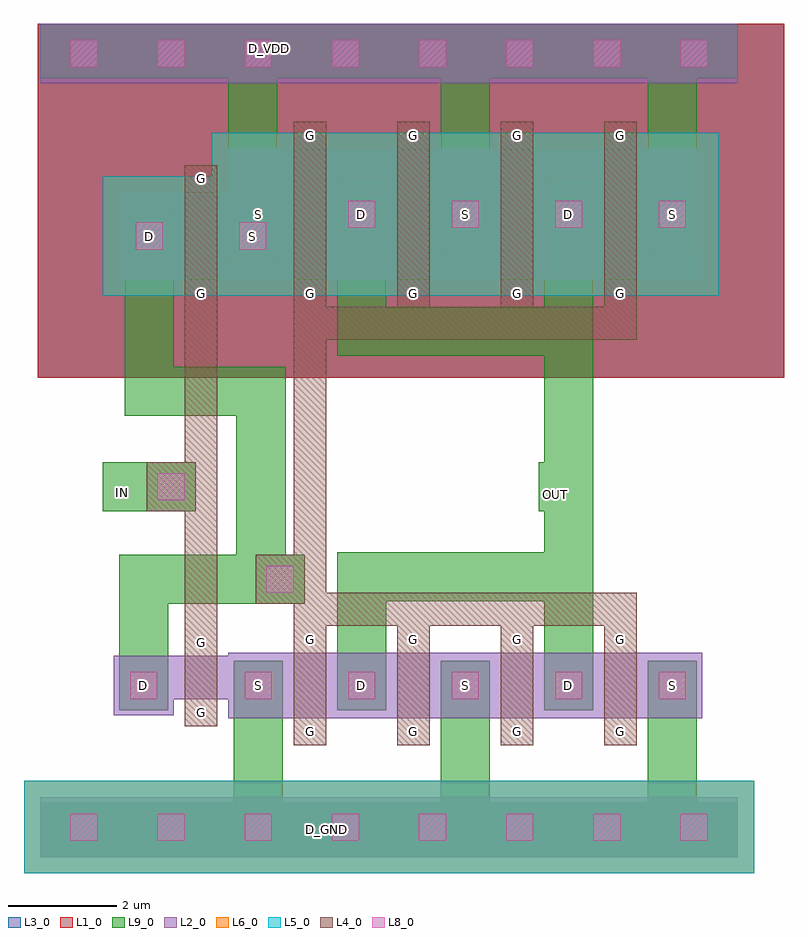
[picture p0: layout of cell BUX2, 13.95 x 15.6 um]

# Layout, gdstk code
import gdstk
lib = gdstk.Library(unit=1e-6, precision=1e-09)
def R(c, l, rs):  # rectangles x0, y0, x1, y1
    for r in rs: c.add(gdstk.rectangle(r[:2], r[2:], *l))
def A(c, l, x, y, w, h, nx, ny, dx, dy):  # array of equal rectangles
    R(c, l, [(x+i*dx, y+j*dy, x+i*dx+w, y+j*dy+h) for i in range(nx) for j in range(ny)])
def P(c, l, *ps):  # polygons
    for p in ps: c.add(gdstk.Polygon(p, *l))
L1_0 = (1, 0)
L2_0 = (2, 0)
L3_0 = (3, 0)
L4_0 = (4, 0)
L5_0 = (5, 0)
L6_0 = (6, 0)
L8_0 = (8, 0)
L9_0 = (9, 0)

bux2 = lib.new_cell('BUX2')
A(bux2, L1_0, 0, 8.8, 1.6, 6.5, 8, 1, 1.6, 0)
A(bux2, L1_0, 1.95, 9.1, 6, 5.4, 4, 1, 1.9, 0)
R(bux2, L1_0, [(-0.05,8.8,13.65,15.3), (-0.05,9.1,5.95,13.7)])
A(bux2, L2_0, 0, 0, 1.6, 1.1, 8, 2, 1.6, 14.2)
A(bux2, L2_0, 4.55, 2.55, 0.8, 1.2, 4, 1, 1.9, 0)
A(bux2, L2_0, 4.55, 10.6, 0.8, 2.4, 4, 1, 1.9, 0)
R(bux2, L2_0, [(3.45,2.55,4.55,3.75), (5.35,2.55,6.45,3.75), (5.35,2.55,6.45,3.75), (7.25,2.55,8.35,3.75), (7.25,2.55,8.35,3.75), (9.15,2.55,10.25,3.75), (9.15,2.55,10.25,3.75), (11.05,2.55,12.15,3.75), (1.35,2.6,2.45,3.7), (3.45,2.6,4.55,3.7), (2.45,2.9,3.45,3.7), (1.45,10.6,2.55,12.2), (2.55,10.6,3.35,12.2), (3.35,10.6,4.45,12.2), (3.45,10.6,4.55,13), (5.35,10.6,6.45,13), (5.35,10.6,6.45,13), (7.25,10.6,8.35,13), (7.25,10.6,8.35,13), (9.15,10.6,10.25,13), (9.15,10.6,10.25,13), (11.05,10.6,12.15,13)])
A(bux2, L3_0, 0, 8.8, 1.6, 6.5, 8, 1, 1.6, 0)
A(bux2, L3_0, 1.95, 9.1, 6, 5.4, 4, 1, 1.9, 0)
R(bux2, L3_0, [(-0.05,8.8,13.65,15.3), (-0.05,9.1,5.95,13.7)])
A(bux2, L4_0, 4.65, 2.05, 0.6, 0.5, 4, 2, 1.9, 1.7)
A(bux2, L4_0, 4.65, 2.05, 0.6, 2.2, 4, 1, 1.9, 0)
A(bux2, L4_0, 4.65, 10.1, 0.6, 0.5, 4, 2, 1.9, 2.9)
A(bux2, L4_0, 4.65, 10.1, 0.6, 3.4, 4, 1, 1.9, 0)
R(bux2, L4_0, [(2.65,2.4,3.25,2.9), (2.65,2.4,3.25,4.2), (2.65,3.7,3.25,4.2), (2.65,4.2,3.25,10.1), (4.65,4.25,5.25,10.1), (5.25,4.25,10.95,4.85), (3.95,4.65,4.85,5.55), (1.95,6.35,2.85,7.25), (5.25,9.5,10.95,10.1), (2.65,10.1,3.25,12.7), (2.65,10.1,3.25,10.6), (2.65,12.2,3.25,12.7)])
A(bux2, L5_0, 1.6, -0.3, 1.6, 1.7, 6, 1, 1.6, 0)
A(bux2, L5_0, 3.15, 10.3, 3.6, 3, 4, 1, 1.9, 0)
R(bux2, L5_0, [(-0.3,-0.3,1.6,1.4), (11.2,-0.3,13.1,1.4), (1.15,10.3,4.75,12.5)])
A(bux2, L6_0, 1.6, -0.3, 1.6, 1.7, 6, 1, 1.6, 0)
A(bux2, L6_0, 3.15, 10.3, 3.6, 3, 4, 1, 1.9, 0)
R(bux2, L6_0, [(-0.3,-0.3,1.6,1.4), (11.2,-0.3,13.1,1.4), (1.15,10.3,4.75,12.5)])
A(bux2, L8_0, 0.55, 0.3, 0.5, 0.5, 8, 2, 1.6, 14.2)
R(bux2, L8_0, [(1.65,2.9,2.15,3.4), (3.75,2.9,4.25,3.4), (3.75,2.9,4.25,3.4), (5.65,2.9,6.15,3.4), (5.65,2.9,6.15,3.4), (7.55,2.9,8.05,3.4), (7.55,2.9,8.05,3.4), (9.45,2.9,9.95,3.4), (9.45,2.9,9.95,3.4), (11.35,2.9,11.85,3.4), (4.15,4.85,4.65,5.35), (2.15,6.55,2.65,7.05), (1.75,11.15,2.25,11.65), (3.65,11.15,4.15,11.65), (5.65,11.55,6.15,12.05), (5.65,11.55,6.15,12.05), (7.55,11.55,8.05,12.05), (7.55,11.55,8.05,12.05), (9.45,11.55,9.95,12.05), (9.45,11.55,9.95,12.05), (11.35,11.55,11.85,12.05)])
A(bux2, L9_0, 0, 0, 1.6, 1, 8, 2, 1.6, 14.3)
R(bux2, L9_0, [(4.95,0.2,5.55,0.8), (1.45,2.7,2.35,3.6), (3.55,2.7,4.45,3.6), (3.55,2.7,4.45,3.6), (5.45,2.7,6.35,3.6), (5.45,2.7,6.35,3.6), (7.35,2.7,8.25,3.6), (7.35,2.7,8.25,3.6), (9.25,2.7,10.15,3.6), (9.25,2.7,10.15,3.6), (9.25,2.7,10.15,10.1), (11.15,2.7,12.05,3.6), (3.95,4.65,4.85,5.55), (1.15,6.35,2.05,7.25), (1.95,6.35,2.85,7.25), (9.15,6.35,10.05,7.25), (9.25,9.2,10.15,12), (1.55,10.9,2.45,11.9), (3.45,10.9,4.35,11.9), (5.45,11.1,6.35,12.5), (5.45,11.1,6.35,12.5), (7.35,11.1,8.25,12.5), (7.35,11.1,8.25,12.5), (9.25,11.1,10.15,12.5), (9.25,11.1,10.15,12.5), (11.15,11.1,12.05,12.5), (3.9,14.55,4.5,15.15)])
P(bux2, L9_0, [(3.55,0.1),(4.9,0.1),(4.9,1),(4.45,1),(4.45,3.6),(3.55,3.6)],
  [(3.45,11),(4.35,11),(4.35,14.3),(4.9,14.3),(4.9,15.2),(3.45,15.2)],
  [(1.55,8.1),(3.6,8.1),(3.6,4.65),(4.5,4.65),(4.5,9),(2.45,9),(2.45,11.8),(1.55,11.8)],
  [(1.45,2.7),(2.35,2.7),(2.35,4.65),(4.5,4.65),(4.5,5.55),(1.45,5.55)],
  [(10.3,0.1),(12.05,0.1),(12.05,3.6),(11.15,3.6),(11.15,1),(10.3,1)],
  [(7.35,0.1),(8.9,0.1),(8.9,1),(8.25,1),(8.25,3.6),(7.35,3.6)],
  [(7.35,11.6),(8.25,11.6),(8.25,14.3),(8.9,14.3),(8.9,15.2),(7.35,15.2)],
  [(10.3,14.3),(11.15,14.3),(11.15,11.6),(12.05,11.6),(12.05,15.2),(10.3,15.2)],
  [(5.45,9.2),(10.15,9.2),(10.15,10.1),(6.35,10.1),(6.35,12),(5.45,12)],
  [(5.45,2.7),(6.35,2.7),(6.35,4.7),(10.15,4.7),(10.15,5.6),(5.45,5.6)])
bux2.add(gdstk.Label('G', (2.95,12.448), layer=4, texttype=0))
bux2.add(gdstk.Label('G', (2.95,10.348), layer=4, texttype=0))
bux2.add(gdstk.Label('S', (3.901,11.399), layer=9, texttype=0))
bux2.add(gdstk.Label('D', (2.001,11.399), layer=9, texttype=0))
bux2.add(gdstk.Label('G', (4.95,2.302), layer=4, texttype=0))
bux2.add(gdstk.Label('G', (4.95,4.002), layer=4, texttype=0))
bux2.add(gdstk.Label('S', (3.999,3.151), layer=9, texttype=0))
bux2.add(gdstk.Label('D', (5.899,3.151), layer=9, texttype=0))
bux2.add(gdstk.Label('G', (8.75,2.302), layer=4, texttype=0))
bux2.add(gdstk.Label('G', (8.75,4.002), layer=4, texttype=0))
bux2.add(gdstk.Label('S', (7.799,3.151), layer=9, texttype=0))
bux2.add(gdstk.Label('D', (9.699,3.151), layer=9, texttype=0))
bux2.add(gdstk.Label('G', (6.85,10.352), layer=4, texttype=0))
bux2.add(gdstk.Label('G', (6.85,13.252), layer=4, texttype=0))
bux2.add(gdstk.Label('S', (7.801,11.801), layer=9, texttype=0))
bux2.add(gdstk.Label('D', (5.901,11.801), layer=9, texttype=0))
bux2.add(gdstk.Label('G', (8.75,10.352), layer=4, texttype=0))
bux2.add(gdstk.Label('G', (8.75,13.252), layer=4, texttype=0))
bux2.add(gdstk.Label('S', (7.799,11.801), layer=9, texttype=0))
bux2.add(gdstk.Label('D', (9.699,11.801), layer=9, texttype=0))
bux2.add(gdstk.Label('G', (4.95,10.352), layer=4, texttype=0))
bux2.add(gdstk.Label('G', (4.95,13.252), layer=4, texttype=0))
bux2.add(gdstk.Label('S', (3.999,11.801), layer=2, texttype=0))
bux2.add(gdstk.Label('D', (5.899,11.801), layer=9, texttype=0))
bux2.add(gdstk.Label('G', (2.95,3.948), layer=4, texttype=0))
bux2.add(gdstk.Label('G', (2.95,2.648), layer=4, texttype=0))
bux2.add(gdstk.Label('S', (4.001,3.149), layer=9, texttype=0))
bux2.add(gdstk.Label('D', (1.901,3.149), layer=9, texttype=0))
bux2.add(gdstk.Label('G', (6.85,2.302), layer=4, texttype=0))
bux2.add(gdstk.Label('G', (6.85,4.002), layer=4, texttype=0))
bux2.add(gdstk.Label('S', (7.801,3.151), layer=9, texttype=0))
bux2.add(gdstk.Label('D', (5.901,3.151), layer=9, texttype=0))
bux2.add(gdstk.Label('G', (10.65,10.352), layer=4, texttype=0))
bux2.add(gdstk.Label('G', (10.65,13.252), layer=4, texttype=0))
bux2.add(gdstk.Label('S', (11.601,11.801), layer=9, texttype=0))
bux2.add(gdstk.Label('D', (9.701,11.801), layer=9, texttype=0))
bux2.add(gdstk.Label('G', (10.65,2.302), layer=4, texttype=0))
bux2.add(gdstk.Label('G', (10.65,4.002), layer=4, texttype=0))
bux2.add(gdstk.Label('S', (11.601,3.151), layer=9, texttype=0))
bux2.add(gdstk.Label('D', (9.701,3.151), layer=9, texttype=0))
bux2.add(gdstk.Label('D_GND', (5.25,0.5), layer=50, texttype=0))
bux2.add(gdstk.Label('IN', (1.5,6.7), layer=50, texttype=0))
bux2.add(gdstk.Label('D_VDD', (4.2,14.85), layer=50, texttype=0))
bux2.add(gdstk.Label('OUT', (9.45,6.65), layer=50, texttype=0))

lib.write_gds('BUX2.gds')
